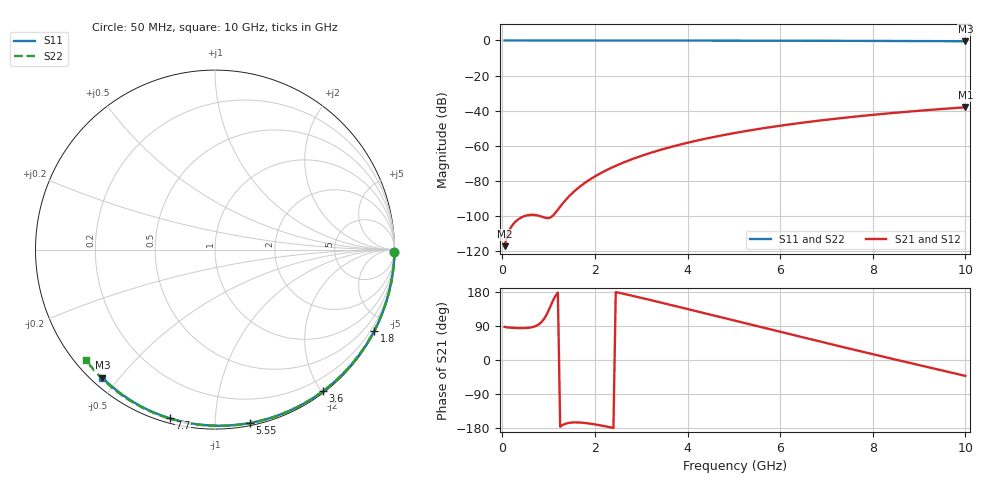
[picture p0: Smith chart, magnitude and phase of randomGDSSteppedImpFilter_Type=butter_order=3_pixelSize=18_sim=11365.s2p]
! freq	dB(S11)	phase(S11)	dB(S12)	phase(S12)
!  dB(S21)	phase(S21)	dB(S22)	phase(S22)
!S-par simulation data
#  GHz  S  DB  R 50
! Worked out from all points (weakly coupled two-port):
!   200 points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, 50 MHz to 10 GHz, reference 50 ohm
!   highest |S21| = -38.11 dB at 10 GHz (marker M1); lowest = -117.3 dB at 50 MHz (marker M2)
!   lowest |S11| = -0.4 dB at 10 GHz (marker M3), VSWR 39.09, Z = 1.54 - j22.6 ohm
!   |S11| at or under -10 dB: nowhere
!   |S22| runs from -0.5 to 0.0 dB; largest |S21 - S12| = 0
!   S11 on the Smith chart (normalised r, x): 50 MHz: open; 1.8 GHz: 0.04, -4.18; 3.6 GHz: 0.02, -2.02; 5.55 GHz: 0.02, -1.22; 7.7 GHz: 0.02, -0.77; 10 GHz: 0.03, -0.45
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0.05  -0.00 -0.8  -117.29 87.6  -117.29 87.6  -0.00 -0.8
0.45  -0.01 -6.8  -100.45 84.1  -100.45 84.1  -0.01 -7.3
0.9  -0.02 -13.6  -100.90 108.0  -100.90 108.0  -0.02 -14.4
1.75  -0.03 -26.2  -81.83 -165.7  -81.83 -165.7  -0.04 -27.8
1.8  -0.03 -26.9  -80.89 -166.4  -80.89 -166.4  -0.04 -28.6
1.85  -0.04 -27.7  -80.00 -167.1  -80.00 -167.1  -0.04 -29.4
2  -0.04 -29.8  -77.52 -169.9  -77.52 -169.9  -0.04 -31.7
2.15  -0.04 -32.0  -75.30 -173.2  -75.30 -173.2  -0.04 -34.0
2.35  -0.04 -34.9  -72.67 -178.1  -72.67 -178.1  -0.05 -37.1
2.55  -0.05 -37.8  -70.32 176.6  -70.32 176.6  -0.05 -40.1
2.95  -0.06 -43.5  -66.29 165.5  -66.29 165.5  -0.06 -46.2
3.4  -0.07 -49.9  -62.50 152.4  -62.50 152.4  -0.07 -52.9
3.6  -0.07 -52.6  -61.02 146.4  -61.02 146.4  -0.08 -55.8
4.3  -0.09 -62.2  -56.52 125.4  -56.52 125.4  -0.09 -65.9
5.05  -0.11 -72.2  -52.62 102.8  -52.62 102.8  -0.12 -76.4
5.55  -0.13 -78.6  -50.40 87.8  -50.40 87.8  -0.14 -83.3
6.1  -0.15 -85.6  -48.24 71.3  -48.24 71.3  -0.16 -90.6
6.7  -0.18 -93.0  -46.16 53.4  -46.16 53.4  -0.19 -98.4
7.7  -0.24 -105.0  -43.20 24.0  -43.20 24.0  -0.25 -111.1
8.35  -0.29 -112.6  -41.55 5.2  -41.55 5.2  -0.31 -119.2
9.2  -0.36 -122.3  -39.66 -19.2  -39.66 -19.2  -0.38 -129.6
10  -0.44 -131.4  -38.11 -42.0  -38.11 -42.0  -0.47 -139.3
